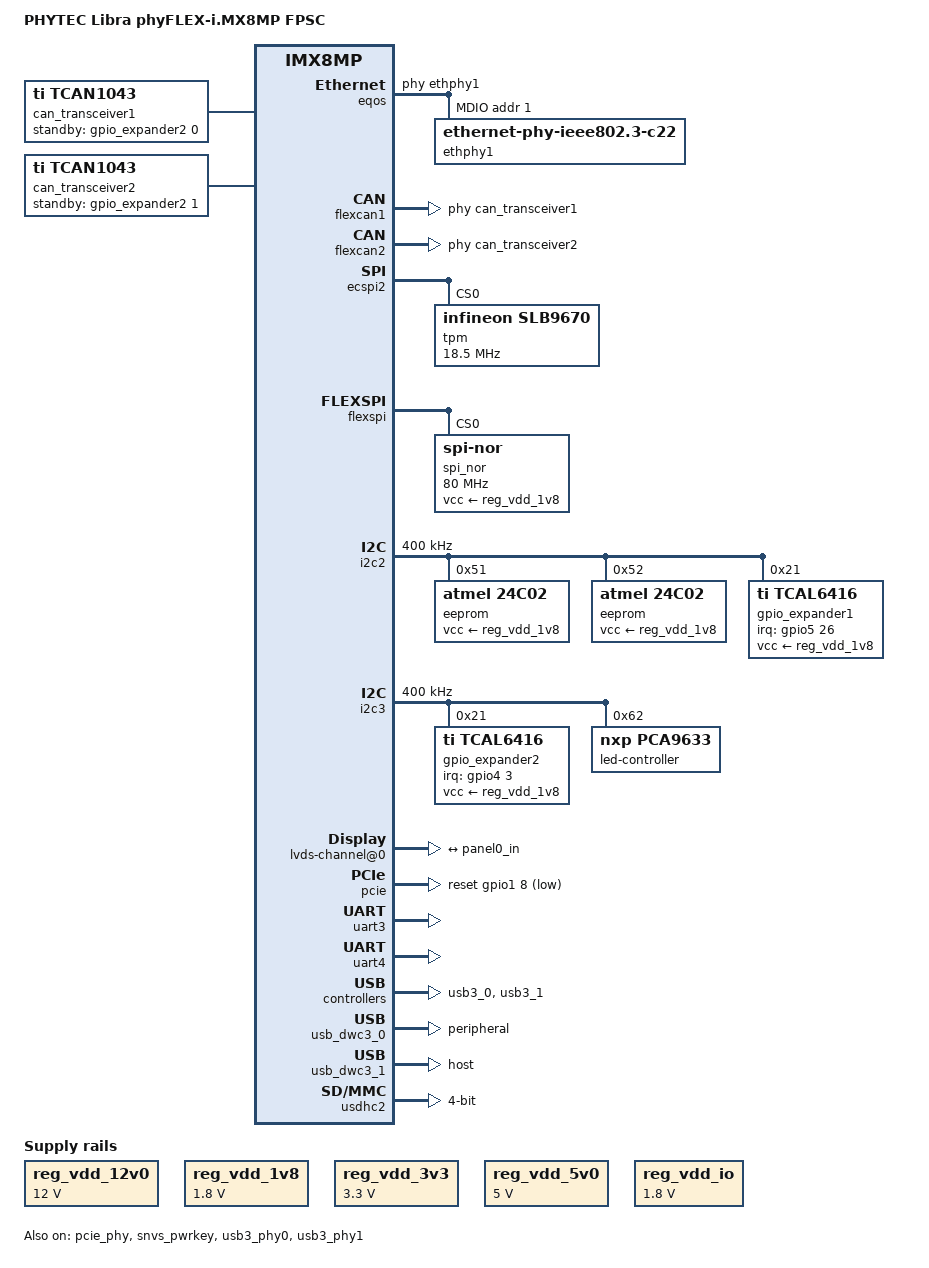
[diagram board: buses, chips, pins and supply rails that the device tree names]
// SPDX-License-Identifier: (GPL-2.0-or-later OR MIT)
/*
 * Copyright (C) 2025 PHYTEC Messtechnik GmbH
 */

/dts-v1/;

#include <dt-bindings/leds/common.h>
#include <dt-bindings/phy/phy-imx8-pcie.h>
#include <dt-bindings/pwm/pwm.h>
#include "imx8mp-phyflex-fpsc-g-som.dtsi"

/ {
	compatible = "phytec,imx8mp-phyflex-libra-rdk",
		     "phytec,imx8mp-phyflex-fpsc-g", "fsl,imx8mp";
	model = "PHYTEC Libra phyFLEX-i.MX8MP FPSC";

	backlight_lvds0: backlight-lvds0 {
		compatible = "pwm-backlight";
		pinctrl-0 = <&pinctrl_lvds0>;
		pinctrl-names = "default";
		power-supply = <&reg_vdd_12v0>;
		status = "disabled";
	};

	can_transceiver1: can-phy1 {
		compatible = "ti,tcan1043";
		#phy-cells = <0>;
		max-bitrate = <8000000>;
		standby-gpios = <&gpio_expander2 0 GPIO_ACTIVE_HIGH>;
	};

	can_transceiver2: can-phy2 {
		compatible = "ti,tcan1043";
		#phy-cells = <0>;
		max-bitrate = <8000000>;
		standby-gpios = <&gpio_expander2 1 GPIO_ACTIVE_HIGH>;
	};

	chosen {
		stdout-path = &uart4;
	};

	panel_lvds0: panel-lvds0 {
		/* compatible panel in overlay */
		backlight = <&backlight_lvds0>;
		power-supply = <&reg_vdd_3v3>;
		status = "disabled";

		port {
			panel0_in: endpoint {
				remote-endpoint = <&ldb_lvds_ch0>;
			};
		};
	};

	reg_vdd_12v0: regulator-vdd-12v0 {
		compatible = "regulator-fixed";
		regulator-always-on;
		regulator-boot-on;
		regulator-max-microvolt = <12000000>;
		regulator-min-microvolt = <12000000>;
		regulator-name = "VDD_12V0";
	};

	reg_vdd_1v8: regulator-vdd-1v8 {
		compatible = "regulator-fixed";
		regulator-always-on;
		regulator-boot-on;
		regulator-max-microvolt = <1800000>;
		regulator-min-microvolt = <1800000>;
		regulator-name = "VDD_1V8";
	};

	reg_vdd_3v3: regulator-vdd-3v3 {
		compatible = "regulator-fixed";
		regulator-always-on;
		regulator-boot-on;
		regulator-max-microvolt = <3300000>;
		regulator-min-microvolt = <3300000>;
		regulator-name = "VDD_3V3";
	};

	reg_vdd_5v0: regulator-vdd-5v0 {
		compatible = "regulator-fixed";
		regulator-always-on;
		regulator-boot-on;
		regulator-max-microvolt = <5000000>;
		regulator-min-microvolt = <5000000>;
		regulator-name = "VDD_5V0";
	};
};

&eqos {
	phy-handle = <&ethphy1>;
	status = "okay";

	mdio {
		compatible = "snps,dwmac-mdio";
		#address-cells = <1>;
		#size-cells = <0>;

		ethphy1: ethernet-phy@1 {
			compatible = "ethernet-phy-ieee802.3-c22";
			reg = <0x1>;
			enet-phy-lane-no-swap;
			ti,clk-output-sel = <DP83867_CLK_O_SEL_OFF>;
			ti,fifo-depth = <DP83867_PHYCR_FIFO_DEPTH_4_B_NIB>;
			ti,rx-internal-delay = <DP83867_RGMIIDCTL_1_50_NS>;
			ti,tx-internal-delay = <DP83867_RGMIIDCTL_1_50_NS>;
		};
	};
};

/* CAN FD */
&flexcan1 {
	phys = <&can_transceiver1>;
	status = "okay";
};

&flexcan2 {
	phys = <&can_transceiver2>;
	status = "okay";
};

&ecspi2 {
	status = "okay";

	tpm@0 {
		compatible = "infineon,slb9670", "tcg,tpm_tis-spi";
		reg = <0>;
		spi-max-frequency = <18500000>;
	};
};

&flexspi {
	status = "okay";

	spi_nor: flash@0 {
		compatible = "jedec,spi-nor";
		reg = <0>;
		spi-max-frequency = <80000000>;
		spi-rx-bus-width = <4>;
		spi-tx-bus-width = <1>;
		vcc-supply = <&reg_vdd_1v8>;
	};
};

&gpio5 {
	gpio-line-names = "", "", "", "", "I2C5_SDA",
			  "GPIO1", "", "", "", "SPI1_CS",
			  "", "", "", "SPI2_CS", "I2C1_SCL",
			  "I2C1_SDA", "I2C2_SCL", "I2C2_SDA", "I2C3_SCL", "I2C3_SDA",
			  "", "GPIO2", "", "LVDS1_BL_EN", "SPI3_CS",
			  "", "GPIO3";
};

&i2c2 {
	clock-frequency = <400000>;
	status = "okay";

	/* Factory EEPROM */
	eeprom@51 {
		compatible = "atmel,24c02";
		reg = <0x51>;
		pagesize = <16>;
		vcc-supply = <&reg_vdd_1v8>;
	};

	/* User EEPROM */
	eeprom@52 {
		compatible = "atmel,24c02";
		reg = <0x52>;
		pagesize = <16>;
		vcc-supply = <&reg_vdd_1v8>;
	};

	gpio_expander1: gpio@21 {
		compatible = "ti,tcal6416";
		reg = <0x21>;
		interrupt-controller;
		interrupt-parent = <&gpio5>;
		interrupts = <26 IRQ_TYPE_LEVEL_LOW>;
		#interrupt-cells = <2>;
		#gpio-cells = <2>;
		gpio-controller;
		gpio-line-names = "VCONN_nFAULT", "CSI1_CTRL1", "CSI1_CTRL3",
				  "CSI1_CTRL4", "USB-C_nINT/AUDIO_AC",
				  "CSI2_CTRL1", "CSI2_CTRL3", "CSI2_CTRL4",
				  "CLK_EN_AV", "W_nDISABLE1", "W_nDISABLE2",
				  "PCIE1_nWAKE", "NC", "UART1_nWAKE",
				  "UART1_BT_RS_SEL", "UART1_RS232_485_SEL";

		vcc-supply = <&reg_vdd_1v8>;
	};
};

&i2c3 {
	clock-frequency = <400000>;
	status = "okay";

	gpio_expander2: gpio@21 {
		compatible = "ti,tcal6416";
		reg = <0x21>;
		interrupt-controller;
		interrupt-parent = <&gpio4>;
		interrupts = <3 IRQ_TYPE_LEVEL_LOW>;
		#interrupt-cells = <2>;
		gpio-controller;
		#gpio-cells = <2>;
		gpio-line-names = "CAN1_STBY", "CAN2_STBY", "NC",
				  "KEY-E_nALERT", "NC", "SDIO_nWAKE",
				  "SDIO_nRESET", "HDMI_EN", "RTC_nINT",
				  "LVDS1_BL_EN", "NC", "NC", "NC", "NC",
				  "NC", "NC";
		vcc-supply = <&reg_vdd_1v8>;
	};

	led-controller@62 {
		compatible = "nxp,pca9633";
		reg = <0x62>;
		#address-cells = <1>;
		#size-cells = <0>;

		led@0 {
			reg = <0>;
			color = <LED_COLOR_ID_RED>;
			function = LED_FUNCTION_STATUS;
		};

		led@1 {
			reg = <1>;
			color = <LED_COLOR_ID_GREEN>;
			function = LED_FUNCTION_STATUS;
		};

		led@2 {
			reg = <2>;
			color = <LED_COLOR_ID_BLUE>;
			function = LED_FUNCTION_STATUS;
		};
	};
};

&iomuxc {
	pinctrl_lvds0: lvds0grp {
		fsl,pins = <
			MX8MP_IOMUXC_UART1_TXD__GPIO5_IO23	0x12
		>;
	};
};

&ldb {
	lvds-channel@0 {
		status = "okay";

		port@1 {
			reg = <1>;

			ldb_lvds_ch0: endpoint {
				remote-endpoint = <&panel0_in>;
			};
		};
	};
};

/* Mini PCIe */
&pcie {
	reset-gpio = <&gpio1 8 GPIO_ACTIVE_LOW>;
	vpcie-supply = <&reg_vdd_3v3>;
	status = "okay";
};

&pcie_phy {
	clocks = <&hsio_blk_ctrl>;
	clock-names = "ref";
	fsl,clkreq-unsupported;
	fsl,refclk-pad-mode = <IMX8_PCIE_REFCLK_PAD_OUTPUT>;
	status = "okay";
};

&reg_vdd_io {
	regulator-max-microvolt = <1800000>;
	regulator-min-microvolt = <1800000>;
};

&rv3028 {
	interrupt-parent = <&gpio_expander2>;
	interrupts = <8 IRQ_TYPE_LEVEL_LOW>;
	aux-voltage-chargeable = <1>;
	trickle-resistor-ohms = <3000>;
	wakeup-source;
};

&snvs_pwrkey {
	status = "okay";
};

/* RS232/RS485/BT */
&uart3 {
	uart-has-rtscts;
	status = "okay";
};

/* debug console */
&uart4 {
	status = "okay";
};

/* USB1 Type-C */
&usb3_phy0 {
	vbus-supply = <&reg_vdd_5v0>;
	status = "okay";
};

&usb3_0 {
	fsl,over-current-active-low;
	fsl,power-active-low;
	status = "okay";
};

&usb_dwc3_0 {
	dr_mode = "peripheral";
	status = "okay";
};

/* USB2 4-port USB3.0 HUB */
&usb3_phy1 {
	vbus-supply = <&reg_vdd_5v0>;
	status = "okay";
};

&usb3_1 {
	fsl,permanently-attached;
	fsl,over-current-active-low;
	fsl,power-active-high;
	status = "okay";
};

&usb_dwc3_1 {
	dr_mode = "host";
	status = "okay";
};

/* SD-Card */
&usdhc2 {
	assigned-clocks = <&clk IMX8MP_CLK_USDHC2>;
	assigned-clock-rates = <200000000>;
	bus-width = <4>;
	disable-wp;
	status = "okay";
};
